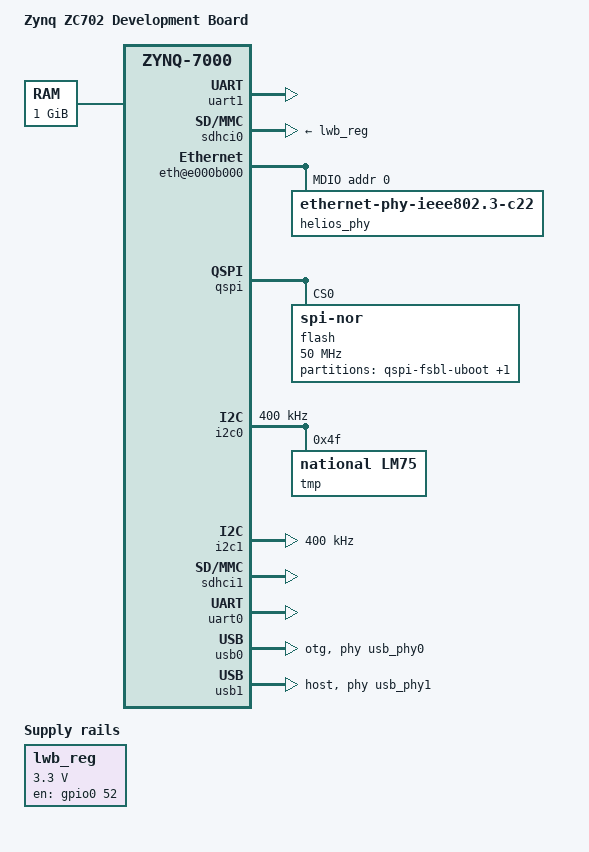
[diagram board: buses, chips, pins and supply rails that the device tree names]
/*
 *  Copyright (C) 2011 - 2014 Xilinx
 *  Copyright (C) 2012 National Instruments Corp.
 *
 * This software is licensed under the terms of the GNU General Public
 * License version 2, as published by the Free Software Foundation, and
 * may be copied, distributed, and modified under those terms.
 *
 * This program is distributed in the hope that it will be useful,
 * but WITHOUT ANY WARRANTY; without even the implied warranty of
 * MERCHANTABILITY or FITNESS FOR A PARTICULAR PURPOSE.  See the
 * GNU General Public License for more details.
 */
/dts-v1/;
#include "zynq-7000.dtsi"

/ {
	model = "Zynq ZC702 Development Board";
	compatible = "iveia,atlas-i-z7e", "iveia,helios-z7";

	aliases {
		i2c0 = &i2c0;
		i2c1 = &i2c1;
		serial0 = &uart1;
		mmc0 = &sdhci0;
	};

	memory@0 {
		device_type = "memory";
		reg = <0x0 0x40000000>;
	};

	chosen {
		bootargs = "console=ttyPS1,115200 root=/dev/ram rw earlyprintk";
		stdout-path = "serial0:115200n8";
	};

	iveia_fb {
		compatible = "iveia,fb";
	};
	
	usb_phy0: phy0@e0002000 {
		compatible = "ulpi-phy";
		#phy-cells = <0>;
		reg = <0xe0002000 0x1000>;
		view-port = <0x0170>;
		drv-vbus;
	};

	usb_phy1: phy0@e0003000 {
		compatible = "ulpi-phy";
		#phy-cells = <0>;
		reg = <0xe0003000 0x1000>;
		view-port = <0x0170>;
		drv-vbus;
	};

};

&amba {
	ocm: sram@fffc0000 {
		compatible = "mmio-sram";
		reg = <0xfffc0000 0x10000>;
	};

	lwb_reg: reg@1 {
		compatible = "regulator-fixed";
		regulator-name = "lwb-wifi";

		regulator-min-microvolt = <3300000>; /* Actually 1.8V, but this keeps the driver happy */
		regulator-max-microvolt = <3300000>;
            		
		gpio = <&gpio0 52 0>;

		enable-active-high;
		regulator-boot-on;
		startup-delay-us = <70000>;
	};
	uart1: serial@e0001000 {
		compatible = "iveia,intrepid-rs485";
		status = "okay";
		clocks = <&clkc 24>, <&clkc 41>;
		clock-names = "uart_clk", "pclk";
		reg = <0xE0001000 0x1000>;
		interrupts = <0 50 4>;

		rgpio = <&gpio0 10 0>;
		wgpio = <&gpio0 11 0>;
	};

	sdhci0: sdhci@e0100000 {
		compatible = "arasan,sdhci-8.9a";
		u-boot,dm-pre-reloc;
		status = "okay"; 
		clock-names = "clk_xin", "clk_ahb";
		clocks = <&clkc 21>, <&clkc 32>;
		interrupt-parent = <&intc>;
		interrupts = <0 24 4>;
		reg = <0xe0100000 0x1000>;
		broken-adma2;

		vmmc-supply = <&lwb_reg>;

		disable-wp;
		non-removeable;
		cap-power-off-card;
	};

	eth@e000b000 { //ETH0 on Helios
		compatible = "cdns,gem";
		reg = <0xe000b000 0x1000>;
		status = "okay";
		interrupts = <0 22 4>;
		clocks = <&clkc 30>, <&clkc 30>, <&clkc 13>;
		clock-names = "pclk", "hclk", "tx_clk";
		#address-cells = <1>;
		#size-cells = <0>;
		use-internal-mdio = <1>;
		mdio {
			#address-cells = <1>;
			#size-cells = <0>;
			helios_phy: phy@0 {
				compatible = "ethernet-phy-ieee802.3-c22";
				device_type = "ethernet-phy";
				reg = <0>;
			};
		};
	};
};

&clkc {
	ps-clk-frequency = <33333333>;
};

&qspi {
       u-boot,dm-pre-reloc;
       status = "okay";
       is-dual = <0>;
       num-cs = <1>;
       flash@0 {
               compatible = "jedec,spi-nor";
               reg = <0x0>;
               spi-tx-bus-width = <1>;
               spi-rx-bus-width = <1>;
               spi-max-frequency = <50000000>;
               #address-cells = <1>;
               #size-cells = <1>;

               partition@qspi-fsbl-uboot {
                       label = "qspi-fsbl-uboot";
                       reg = <0x0 0x0f0000>;
               };

               partition@qspi-board-info{
                       label = "qspi-board-info";
                       reg = <0x0f0000 0x10000>;
               };

       };
};


&i2c0 {
	status = "okay";
	clock-frequency = <400000>;

	tmp@4f {
		compatible = "national,lm75";
		reg = <0x4f>;
	};

};

&i2c1 {
	status = "okay";
	clock-frequency = <400000>;
};

&sdhci1 {
	u-boot,dm-pre-reloc;
	status = "okay";
};

&gpio0 {
	u-boot,dm-pre-reloc;
	status = "okay";
};
/*
&uart1 {
	u-boot,dm-pre-reloc;
	status = "okay";
};
*/
&uart0 {
	u-boot,dm-pre-reloc;
	status = "okay";
};

&usb0 {
	status = "okay";
	dr_mode = "otg";
	usb-phy = <&usb_phy0>;
};

&usb1 {
	status = "okay";
	dr_mode = "host";
	usb-phy = <&usb_phy1>;
};
